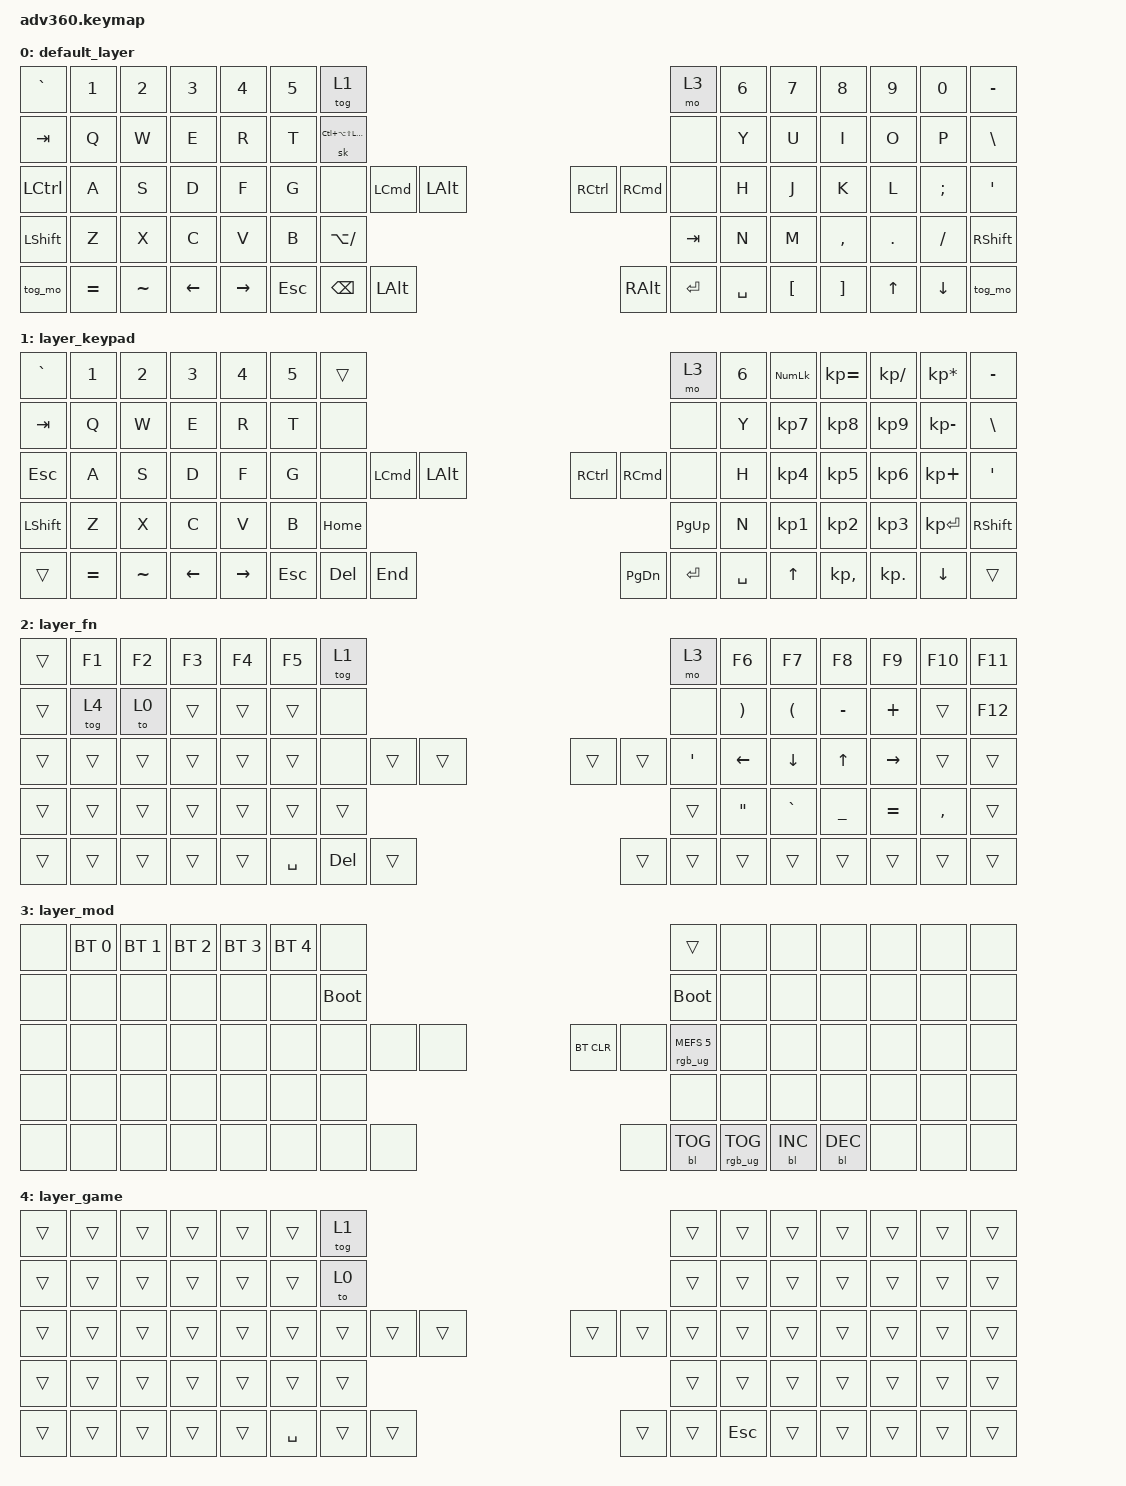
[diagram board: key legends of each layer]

/*
 * Copyright (c) 2020 The ZMK Contributors
 *
 * SPDX-License-Identifier: MIT
 */


/* THIS FILE WAS GENERATED!
 *
 * This file was generated automatically. You may or may not want to
 * edit it directly.
 */

#include <behaviors.dtsi>
#include <dt-bindings/zmk/keys.h>
#include <dt-bindings/zmk/bt.h>
#include <dt-bindings/zmk/rgb.h>
#include <dt-bindings/zmk/backlight.h>

/ {
  behaviors {
    #include "macros.dtsi"
    #include "version.dtsi"

    hm: homerow_mods {
        compatible = "zmk,behavior-hold-tap";
        label = "HOMEROW_MODS";
        #binding-cells = <2>;
        tapping-term-ms = <200>;
        quick_tap_ms = <175>;
        flavor = "tap-preferred";
        bindings = <&kp>, <&kp>;
    };

    tog_mo: tog_mo_fancy {
        compatible = "zmk,behavior-mod-morph";
        label = "Fancy Toggle";
        #binding-cells = <0>;
        bindings = <&mo 2>, <&tog 2>;
        mods = <(MOD_LGUI|MOD_RGUI)>;
    };
  };

    keymap {
        compatible = "zmk,keymap";


        default_layer {
            bindings = <
      &kp GRAVE     &kp N1     &kp N2          &kp N3           &kp N4  &kp N5                          &tog 1                                                                                     &mo 3  &kp N6            &kp N7             &kp N8   &kp N9         &kp N0        &kp MINUS
        &kp TAB      &kp Q      &kp W           &kp E            &kp R   &kp T            &sk LC(LA(LS(LCMD)))                                                                                     &none   &kp Y             &kp U              &kp I    &kp O          &kp P         &kp BSLH
      &kp LCTRL      &kp A      &kp S           &kp D            &kp F   &kp G                           &none  &kp LEFT_COMMAND       &kp LALT                  &kp RIGHT_CONTROL   &kp RCMD      &none   &kp H             &kp J              &kp K    &kp L  &kp SEMICOLON          &kp SQT
 &kp LEFT_SHIFT      &kp Z      &kp X           &kp C            &kp V   &kp B                                                    &kp LA(SLASH)                            &kp TAB                         &kp N             &kp M          &kp COMMA  &kp DOT      &kp SLASH  &kp RIGHT_SHIFT
          &tog_mo  &kp EQUAL  &kp TILDE  &kp LEFT_ARROW  &kp RIGHT_ARROW                              &kp ESCAPE     &kp BACKSPACE   &kp LEFT_ALT                      &kp RIGHT_ALT  &kp ENTER  &kp SPACE          &kp LEFT_BRACKET  &kp RIGHT_BRACKET   &kp UP       &kp DOWN            &tog_mo
            >;
        };

        layer_keypad {
            bindings = <
      &kp GRAVE     &kp N1     &kp N2    &kp N3     &kp N4  &kp N5             &trans                                                                                            &mo 3  &kp N6  &kp KP_NUM  &kp KP_EQUAL  &kp KP_DIVIDE  &kp KP_MULTIPLY        &kp MINUS
        &kp TAB      &kp Q      &kp W     &kp E      &kp R   &kp T              &none                                                                                            &none   &kp Y   &kp KP_N7     &kp KP_N8      &kp KP_N9     &kp KP_MINUS         &kp BSLH
        &kp ESC      &kp A      &kp S     &kp D      &kp F   &kp G              &none  &kp LEFT_COMMAND  &kp LEFT_ALT                  &kp RIGHT_CONTROL  &kp RIGHT_COMMAND      &none   &kp H   &kp KP_N4     &kp KP_N5      &kp KP_N6      &kp KP_PLUS          &kp SQT
 &kp LEFT_SHIFT      &kp Z      &kp X     &kp C      &kp V   &kp B                                           &kp HOME                          &kp PG_UP                                 &kp N   &kp KP_N1     &kp KP_N2      &kp KP_N3     &kp KP_ENTER  &kp RIGHT_SHIFT
         &trans  &kp EQUAL  &kp TILDE  &kp LEFT  &kp RIGHT                    &kp ESC           &kp DEL       &kp END                          &kp PG_DN          &kp ENTER  &kp SPACE              &kp UP  &kp KP_COMMA     &kp KP_DOT         &kp DOWN           &trans
            >;
        };

        layer_fn {
            bindings = <
 &trans  &kp F1  &kp F2  &kp F3  &kp F4  &kp F5               &tog 1                                                              &mo 3                 &kp F6                &kp F7     &kp F8     &kp F9    &kp F10  &kp F11
 &trans  &tog 4   &to 0  &trans  &trans  &trans                &none                                                              &none  &kp RIGHT_PARENTHESIS  &kp LEFT_PARENTHESIS  &kp MINUS   &kp PLUS     &trans  &kp F12
 &trans  &trans  &trans  &trans  &trans  &trans                &none   &trans  &trans                  &trans  &trans  &kp SINGLE_QUOTE               &kp LEFT              &kp DOWN     &kp UP  &kp RIGHT     &trans   &trans
 &trans  &trans  &trans  &trans  &trans  &trans                                &trans                  &trans                                &kp DOUBLE_QUOTES             &kp GRAVE  &kp UNDER  &kp EQUAL  &kp COMMA   &trans
 &trans  &trans  &trans  &trans  &trans                    &kp SPACE  &kp DEL  &trans                  &trans  &trans            &trans                                       &trans     &trans     &trans     &trans   &trans
            >;
        };

        layer_mod {
            bindings = <
  &none  &bt BT_SEL 0  &bt BT_SEL 1  &bt BT_SEL 2  &bt BT_SEL 3  &bt BT_SEL 4                  &none                                                                          &trans   &none       &none       &none   &none   &none   &none
  &none         &none         &none         &none         &none         &none            &bootloader                                                                     &bootloader   &none       &none       &none   &none   &none   &none
  &none         &none         &none         &none         &none         &none                  &none   &none   &none                  &bt BT_CLR       &none  &rgb_ug RGB_MEFS_CMD 5   &none       &none       &none   &none   &none   &none
  &none         &none         &none         &none         &none         &none                                  &none                       &none                                       &none       &none       &none   &none   &none   &none
  &none         &none         &none         &none         &none                                &none   &none   &none                       &none  &bl BL_TOG         &rgb_ug RGB_TOG          &bl BL_INC  &bl BL_DEC   &none   &none   &none
            >;
        };

        layer_game {
            bindings = <
 &trans  &trans  &trans  &trans  &trans  &trans               &tog 1                                                      &trans  &trans  &trans  &trans  &trans  &trans  &trans
 &trans  &trans  &trans  &trans  &trans  &trans                &to 0                                                      &trans  &trans  &trans  &trans  &trans  &trans  &trans
 &trans  &trans  &trans  &trans  &trans  &trans               &trans  &trans  &trans                  &trans  &trans      &trans  &trans  &trans  &trans  &trans  &trans  &trans
 &trans  &trans  &trans  &trans  &trans  &trans                               &trans                  &trans                      &trans  &trans  &trans  &trans  &trans  &trans
 &trans  &trans  &trans  &trans  &trans                    &kp SPACE  &trans  &trans                  &trans  &trans  &kp ESCAPE          &trans  &trans  &trans  &trans  &trans
            >;
        };

    };
};
